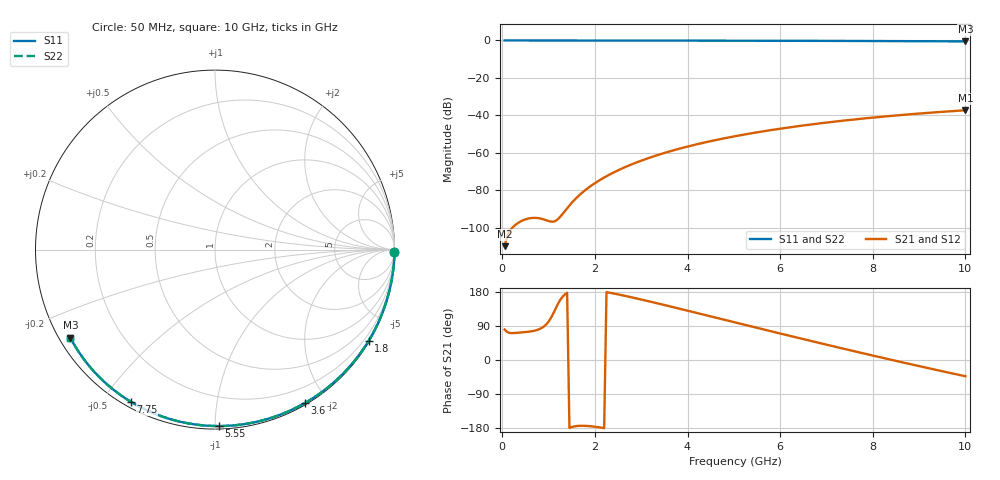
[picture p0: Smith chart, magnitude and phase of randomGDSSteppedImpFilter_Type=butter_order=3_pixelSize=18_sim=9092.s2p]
! freq	dB(S11)	phase(S11)	dB(S12)	phase(S12)
!  dB(S21)	phase(S21)	dB(S22)	phase(S22)
!S-par simulation data
#  GHz  S  DB  R 50
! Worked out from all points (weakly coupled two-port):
!   200 points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, 50 MHz to 10 GHz, reference 50 ohm
!   highest |S21| = -37.25 dB at 10 GHz (marker M1); lowest = -109.8 dB at 50 MHz (marker M2)
!   lowest |S11| = -0.5 dB at 10 GHz (marker M3), VSWR 34.67, Z = 1.56 - j14 ohm
!   |S11| at or under -10 dB: nowhere
!   |S22| runs from -0.5 to 0.0 dB; largest |S21 - S12| = 0
!   S11 on the Smith chart (normalised r, x): 50 MHz: open; 1.8 GHz: 0.03, -3.66; 3.6 GHz: 0.02, -1.75; 5.55 GHz: 0.02, -1.02; 7.75 GHz: 0.02, -0.59; 10 GHz: 0.03, -0.28
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0.05  -0.00 -0.9  -109.80 80.4  -109.80 80.4  -0.00 -0.9
0.45  -0.01 -7.8  -95.94 73.1  -95.94 73.1  -0.01 -7.8
0.9  -0.02 -15.5  -95.54 88.5  -95.54 88.5  -0.02 -15.5
1.3  -0.03 -22.2  -92.60 166.7  -92.60 166.7  -0.03 -22.2
1.75  -0.04 -29.8  -80.72 -173.6  -80.72 -173.6  -0.04 -29.8
1.8  -0.04 -30.6  -79.72 -173.8  -79.72 -173.8  -0.04 -30.6
1.95  -0.04 -33.1  -77.00 -175.3  -77.00 -175.3  -0.04 -33.1
2.1  -0.05 -35.5  -74.61 -177.8  -74.61 -177.8  -0.05 -35.5
2.3  -0.05 -38.8  -71.79 178.0  -71.79 178.0  -0.05 -38.8
2.5  -0.05 -42.1  -69.31 173.2  -69.31 173.2  -0.05 -42.1
2.9  -0.06 -48.6  -65.10 162.5  -65.10 162.5  -0.06 -48.6
3.4  -0.07 -56.5  -60.80 148.1  -60.80 148.1  -0.07 -56.5
3.6  -0.08 -59.6  -59.31 142.2  -59.31 142.2  -0.08 -59.6
4.3  -0.10 -70.3  -54.84 121.1  -54.84 121.1  -0.10 -70.3
5.05  -0.12 -81.5  -51.00 98.4  -51.00 98.4  -0.12 -81.5
5.55  -0.14 -88.7  -48.84 83.4  -48.84 83.4  -0.14 -88.7
6.1  -0.17 -96.5  -46.74 67.0  -46.74 67.0  -0.17 -96.5
6.7  -0.20 -104.8  -44.74 49.2  -44.74 49.2  -0.20 -104.8
7.75  -0.27 -119.0  -41.78 18.8  -41.78 18.8  -0.27 -119.0
8.35  -0.32 -126.9  -40.36 1.9  -40.36 1.9  -0.32 -126.9
9.2  -0.41 -138.1  -38.63 -21.6  -38.63 -21.6  -0.41 -138.1
10  -0.50 -148.6  -37.25 -42.9  -37.25 -42.9  -0.50 -148.6
